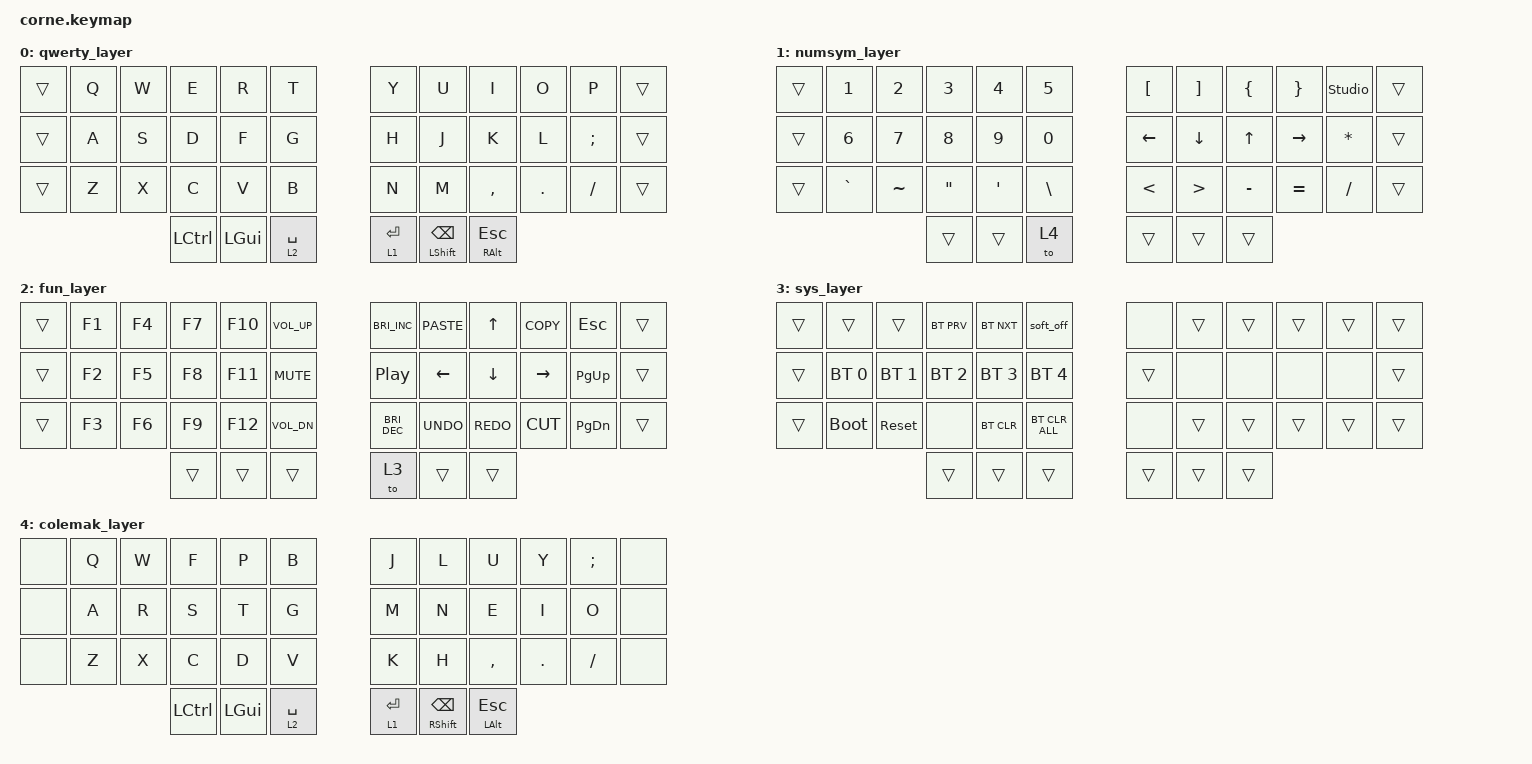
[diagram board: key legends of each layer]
/*
 * Copyright (c) 2020 The ZMK Contributors
 *
 * SPDX-License-Identifier: MIT
 */

#include <behaviors.dtsi>
#include <dt-bindings/zmk/bt.h>
#include <dt-bindings/zmk/keys.h>
#include <dt-bindings/zmk/ext_power.h>

&soft_off {
    hold-time-ms = <5000>; // Only turn off it the key is held for 5 seconds or longer.
};

&soft_off {
    /delete-property/ split-peripheral-off-on-press;
};

&mt {
    tapping-term-ms = <400>;
    quick-tap-ms = <175>;
    require-prior-idle-ms = <150>;
    flavor = "balanced";
};

&lt { tapping-term-ms = <400>; };

/ {
    combos {
        compatible = "zmk,combos";

        combo_esc {
            timeout-ms = <50>;
            key-positions = <1 2>;
            bindings = <&kp ESCAPE>;
        };

        combo_bksp {
            timeout-ms = <50>;
            key-positions = <10 9>;
            bindings = <&kp BACKSPACE>;
        };

        combo_tab {
            bindings = <&kp TAB>;
            key-positions = <13 14>;
        };

        combo_shift {
            bindings = <&kp LEFT_SHIFT>;
            key-positions = <25 26>;
        };

        combo_delete {
            bindings = <&kp DELETE>;
            key-positions = <21 22>;
        };

        combo_rshift {
            bindings = <&kp RIGHT_SHIFT>;
            key-positions = <33 34>;
        };

        exclm {
            bindings = <&kp EXCLAMATION>;
            key-positions = <1 13>;
        };

        at {
            bindings = <&kp AT_SIGN>;
            key-positions = <2 14>;
        };

        hash {
            bindings = <&kp HASH>;
            key-positions = <3 15>;
        };

        dllr {
            bindings = <&kp DOLLAR>;
            key-positions = <4 16>;
        };

        percnt {
            bindings = <&kp PERCENT>;
            key-positions = <5 17>;
        };

        caret {
            bindings = <&kp CARET>;
            key-positions = <6 18>;
        };

        and {
            bindings = <&kp AMPERSAND>;
            key-positions = <7 19>;
        };

        str {
            bindings = <&kp ASTERISK>;
            key-positions = <8 20>;
        };

        leftparen {
            bindings = <&kp LPAR>;
            key-positions = <9 21>;
        };

        rparen {
            bindings = <&kp RPAR>;
            key-positions = <10 22>;
        };

        layout_switch {
            bindings = <&tog 4>;
            key-positions = <36 37 40 41>;
        };

        system_reset {
            bindings = <&sys_reset>;
            key-positions = <3 4 5>;
        };

        bootloader {
            bindings = <&bootloader>;
            key-positions = <15 16 17>;
        };

        system_layer_combo {
            bindings = <&mo 3>;
            key-positions = <36 37>;
        };
    };

    conditional_layers { compatible = "zmk,conditional-layers"; };

    keymap {
        compatible = "zmk,keymap";

        qwerty_layer {
            bindings = <
&trans  &kp Q  &kp W  &kp E             &kp R         &kp T          &kp Y        &kp U                     &kp I              &kp O    &kp P     &trans
&trans  &kp A  &kp S  &kp D             &kp F         &kp G          &kp H        &kp J                     &kp K              &kp L    &kp SEMI  &trans
&trans  &kp Z  &kp X  &kp C             &kp V         &kp B          &kp N        &kp M                     &kp COMMA          &kp DOT  &kp FSLH  &trans
                      &kp LEFT_CONTROL  &kp LEFT_GUI  &lt 2 SPACE    &lt 1 ENTER  &mt LEFT_SHIFT BACKSPACE  &mt RIGHT_ALT ESC
            >;
        };

        numsym_layer {
            bindings = <
&trans  &kp N1        &kp N2     &kp N3   &kp N4   &kp N5          &kp LEFT_BRACKET  &kp RIGHT_BRACKET  &kp LEFT_BRACE  &kp RIGHT_BRACE  &studio_unlock  &trans
&trans  &kp NUMBER_6  &kp N7     &kp N8   &kp N9   &kp NUMBER_0    &kp LEFT          &kp DOWN           &kp UP          &kp RIGHT        &kp ASTERISK    &trans
&trans  &kp GRAVE     &kp TILDE  &kp DQT  &kp SQT  &kp BSLH        &kp LESS_THAN     &kp GREATER_THAN   &kp MINUS       &kp EQUAL        &kp SLASH       &trans
                                 &trans   &trans   &to 4           &trans            &trans             &trans
            >;
        };

        fun_layer {
            bindings = <
&trans  &kp F1  &kp F4  &kp F7  &kp F10  &kp C_VOL_UP    &kp C_BRIGHTNESS_INC  &kp K_PASTE     &kp UP_ARROW    &kp K_COPY  &kp ESC        &trans
&trans  &kp F2  &kp F5  &kp F8  &kp F11  &kp C_MUTE      &kp C_PLAY_PAUSE      &kp LEFT_ARROW  &kp DOWN_ARROW  &kp RIGHT   &kp PG_UP      &trans
&trans  &kp F3  &kp F6  &kp F9  &kp F12  &kp C_VOL_DN    &kp C_BRIGHTNESS_DEC  &kp K_UNDO      &kp K_REDO      &kp K_CUT   &kp PAGE_DOWN  &trans
                        &trans  &trans   &trans          &to 3                 &trans          &trans
            >;
        };

        sys_layer {
            bindings = <
&trans  &trans        &trans        &bt BT_PRV    &bt BT_NXT    &soft_off             &none   &trans  &trans  &trans  &trans  &trans
&trans  &bt BT_SEL 0  &bt BT_SEL 1  &bt BT_SEL 2  &bt BT_SEL 3  &bt BT_SEL 4          &trans  &none   &none   &none   &none   &trans
&trans  &bootloader   &sys_reset    &none         &bt BT_CLR    &bt BT_CLR_ALL        &none   &trans  &trans  &trans  &trans  &trans
                                    &trans        &trans        &trans                &trans  &trans  &trans
            >;
        };

       colemak_layer {
            bindings = <
&none  &kp Q  &kp W  &kp F             &kp P         &kp B          &kp J        &kp L                      &kp U             &kp Y    &kp SEMICOLON  &none
&none  &kp A  &kp R  &kp S             &kp T         &kp G          &kp M        &kp N                      &kp E             &kp I    &kp O          &none
&none  &kp Z  &kp X  &kp C             &kp D         &kp V          &kp K        &kp H                      &kp COMMA         &kp DOT  &kp FSLH       &none
                     &kp LEFT_CONTROL  &kp LEFT_GUI  &lt 2 SPACE    &lt 1 ENTER  &mt RIGHT_SHIFT BACKSPACE  &mt LEFT_ALT ESC
            >;
        };
    };
};
